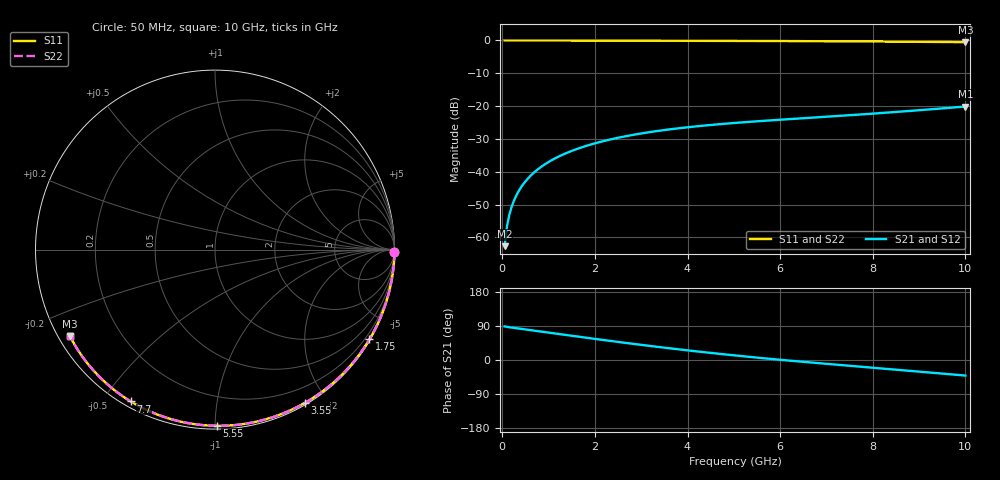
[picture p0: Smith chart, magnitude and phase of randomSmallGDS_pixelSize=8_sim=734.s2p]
! freq	dB(S11)	phase(S11)	dB(S12)	phase(S12)
!  dB(S21)	phase(S21)	dB(S22)	phase(S22)
!S-par simulation data
#  GHz  S  DB  R 50
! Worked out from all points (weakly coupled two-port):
!   200 points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, 50 MHz to 10 GHz, reference 50 ohm
!   highest |S21| = -20.12 dB at 10 GHz (marker M1); lowest = -62.7 dB at 50 MHz (marker M2)
!   lowest |S11| = -0.5 dB at 10 GHz (marker M3), VSWR 32.88, Z = 1.64 - j13.7 ohm
!   |S11| at or under -10 dB: nowhere
!   |S22| runs from -0.5 to 0.0 dB; largest |S21 - S12| = 0
!   S11 on the Smith chart (normalised r, x): 50 MHz: open; 1.75 GHz: 0.03, -3.71; 3.55 GHz: 0.02, -1.75; 5.55 GHz: 0.02, -1.01; 7.7 GHz: 0.02, -0.59; 10 GHz: 0.03, -0.27
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0.05  -0.00 -0.9  -62.67 88.7  -62.67 88.7  -0.00 -0.9
0.1  -0.00 -1.8  -56.69 87.5  -56.69 87.5  -0.00 -1.8
0.15  -0.00 -2.6  -53.22 86.5  -53.22 86.5  -0.00 -2.6
0.2  -0.00 -3.5  -50.76 85.6  -50.76 85.6  -0.00 -3.5
0.25  -0.00 -4.4  -48.85 84.8  -48.85 84.8  -0.00 -4.4
0.35  -0.00 -6.1  -45.98 83.1  -45.98 83.1  -0.00 -6.1
0.5  -0.01 -8.8  -42.92 80.7  -42.92 80.7  -0.01 -8.8
0.7  -0.01 -12.2  -40.04 77.4  -40.04 77.4  -0.01 -12.2
1  -0.02 -17.4  -37.01 72.3  -37.01 72.3  -0.02 -17.4
1.35  -0.03 -23.4  -34.51 66.4  -34.51 66.4  -0.03 -23.4
1.75  -0.04 -30.2  -32.40 59.8  -32.40 59.8  -0.04 -30.2
2.5  -0.06 -42.7  -29.64 47.7  -29.64 47.7  -0.06 -42.7
3.4  -0.08 -57.2  -27.48 34.0  -27.48 34.0  -0.08 -57.2
3.55  -0.09 -59.5  -27.20 31.8  -27.20 31.8  -0.09 -59.6
4.3  -0.11 -71.1  -26.01 21.3  -26.01 21.3  -0.11 -71.1
5.05  -0.14 -82.3  -25.09 11.7  -25.09 11.7  -0.14 -82.3
5.55  -0.16 -89.5  -24.57 5.7  -24.57 5.7  -0.16 -89.5
6.7  -0.22 -105.6  -23.51 -7.0  -23.51 -7.0  -0.22 -105.6
7.7  -0.29 -119.0  -22.59 -17.1  -22.59 -17.1  -0.29 -119.1
8.35  -0.34 -127.6  -21.94 -23.7  -21.94 -23.7  -0.34 -127.7
9.2  -0.43 -138.7  -21.04 -32.4  -21.04 -32.4  -0.43 -138.8
10  -0.53 -149.3  -20.12 -41.1  -20.12 -41.1  -0.53 -149.4
